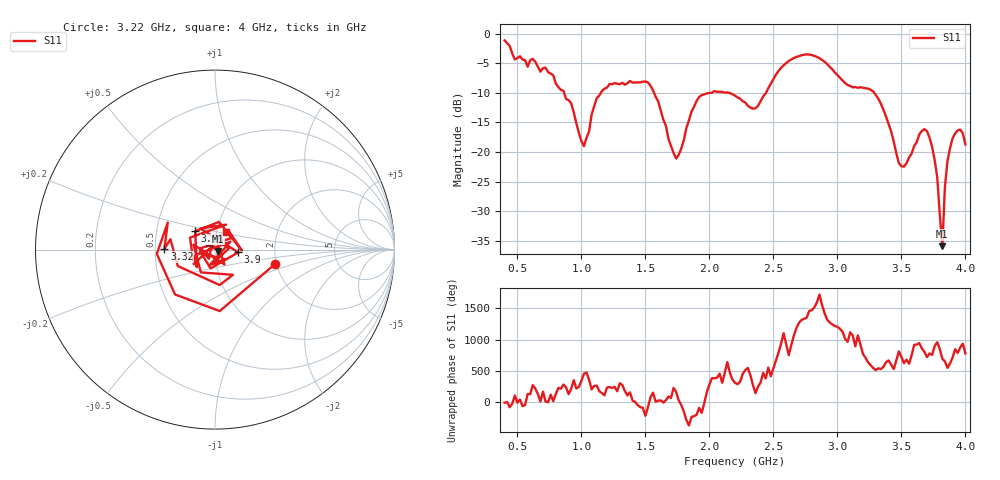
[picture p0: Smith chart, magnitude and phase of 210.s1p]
!Created with skrf (http://scikit-rf.org).
# Hz S RI R 50.0
!freq ReS11 ImS11
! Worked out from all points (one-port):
!   181 points, 400 MHz to 4 GHz, reference 50 ohm
!   lowest |S11| = -35.9 dB at 3.82 GHz (marker M1), VSWR 1.03, Z = 51.4 - j0.796 ohm
!   |S11| at or under -10 dB: 1.567 GHz to 2.008 GHz (440.9 MHz wide, 24.7 % of centre); 2.152 GHz to 2.442 GHz (290.6 MHz wide, 12.6 % of centre); 3.288 GHz to end of sweep (the widest 3 of 4)
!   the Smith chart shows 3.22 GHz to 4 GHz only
!   S11 on the Smith chart (normalised r, x): 3.22 GHz: 1.97, -0.35; 3.32 GHz: 0.56, +0.01; 3.66 GHz: 0.79, +0.16; 3.9 GHz: 1.30, -0.04; 4 GHz: 1.11, +0.22
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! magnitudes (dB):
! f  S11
! 400 MHz  -1.2
! 480 MHz  -4.4
! 620 MHz  -4.3
! 860 MHz  -9.7
! 1.02 GHz  -19.0
! 1.12 GHz  -10.9
! 1.3 GHz  -8.5
! 1.52 GHz  -8.3
! 1.76 GHz  -20.5
! 1.92 GHz  -10.7
! 2.2 GHz  -10.5
! 2.36 GHz  -12.6
! 2.66 GHz  -4.1
! 2.86 GHz  -4.1
! 3.1 GHz  -8.8
! 3.22 GHz  -9.2
! 3.32 GHz  -11.0
! 3.48 GHz  -21.9
! 3.56 GHz  -20.9
! 3.66 GHz  -16.5
! 3.7 GHz  -16.5
! 3.76 GHz  -21.4
! 3.78 GHz  -24.3
! 3.82 GHz  -35.9
! 3.84 GHz  -25.9
! 3.9 GHz  -17.7
! 3.96 GHz  -16.2
! 4 GHz  -18.7
